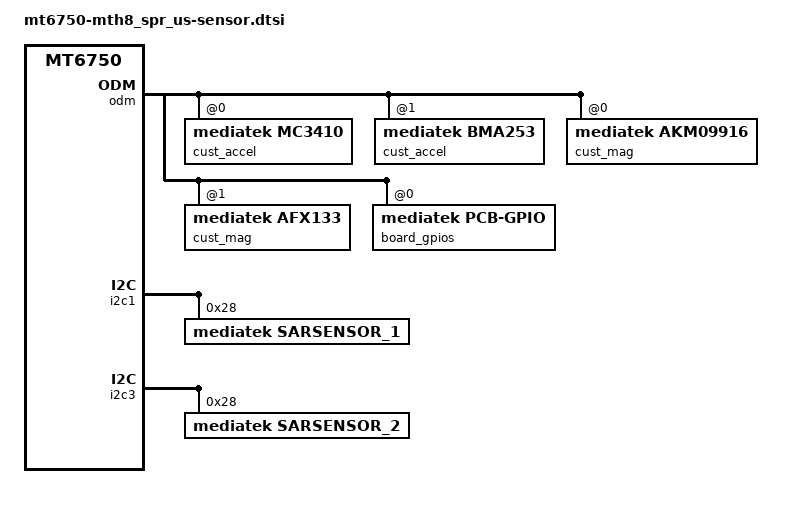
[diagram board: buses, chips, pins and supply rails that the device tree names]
/*
 * LG Electronics TH8 sensor device tree source
 *
 * Copyright (c) 2017 LG Electronics Co., Ltd.
 *              http://www.lge.com
 *
 */

&odm {
/*  start sensor */
		cust_accel@0 {
		compatible				= "mediatek,mc3410";
		i2c_num				= <1>;
		i2c_addr				= <0x4c 0 0 0>;
		direction				= <4>;
		power_id				= <0xffff>;
		power_vol				= <0>;
		firlen					= <0>;
		is_batch_supported			= <0>;
		};
		cust_accel@1 {
                compatible                              = "mediatek,bma253";
                i2c_num                         = <1>;
               /* i2c_addr                                = <0x18 0 0 0>;*/
                direction                               = <6>;
                power_id                                = <0xffff>;
                power_vol                               = <0>;
                firlen                                  = <0>;
                is_batch_supported                      = <0>;
                };
		cust_mag@0 {
		compatible				= "mediatek,akm09916";
		i2c_num				= <1>;
	/*	i2c_addr				= <0x0C 0 0 0>;*/
		direction				= <3>;
		power_id				= <0xffff>;
		power_vol				= <0>;
		is_batch_supported	= <0>;
		};
		cust_mag@1 {
		compatible				= "mediatek,afx133";
		i2c_num				= <1>;
	/*	i2c_addr				= <0x0C 0 0 0>;*/
		direction				= <3>;
		power_id				= <0xffff>;
		power_vol				= <0>;
		is_batch_supported	= <0>;
		};
		board_gpios:board_gpios@0 {
		compatible = "mediatek,pcb-gpio";
		pcb-rf = <125 126 127 128>;
		pcb-sim = <129>;
		pcb-stage= <3 2 1>;
		};
/* end sensor */
};

&pio {

	sarsensor_intpin_default_a: eint@11 {
		pins_cmd_dat {
			pins = <PINMUX_GPIO11__FUNC_GPIO11>;
			slew-rate = <0>;
		};
	};

};
&odm {
sar_1: sar_sensor_1 {
	pinctrl-names = "pin_default_A";
	pinctrl-0 = <&sarsensor_intpin_default_a>;
	interrupt-parent = <&eintc>;
	interrupts = <11 IRQ_TYPE_EDGE_FALLING>;
	debounce = <1 0>;
	status = "okay";
};
};
&pio {

	sarsensor_intpin_default_b: eint@0 {
		pins_cmd_dat {
			pins = <PINMUX_GPIO0__FUNC_GPIO0>;
			slew-rate = <0>;
		};
	};

};
&odm {
sar_2: sar_sensor_2 {
	pinctrl-names = "pin_default_B";
	pinctrl-0 = <&sarsensor_intpin_default_b>;
	interrupt-parent = <&eintc>;
	interrupts = <0 IRQ_TYPE_EDGE_FALLING>;
	debounce = <1 0>;
	status = "okay";
};
};

&i2c1 {
	sarsensor_1@28 {
		compatible = "mediatek,sarsensor_1";
		reg = <0x28>;
		status = "okay";
	};
};
&i2c3 {
	sarsensor_2@28 {
		compatible = "mediatek,sarsensor_2";
		reg = <0x28>;
		status = "okay";
	};
};
